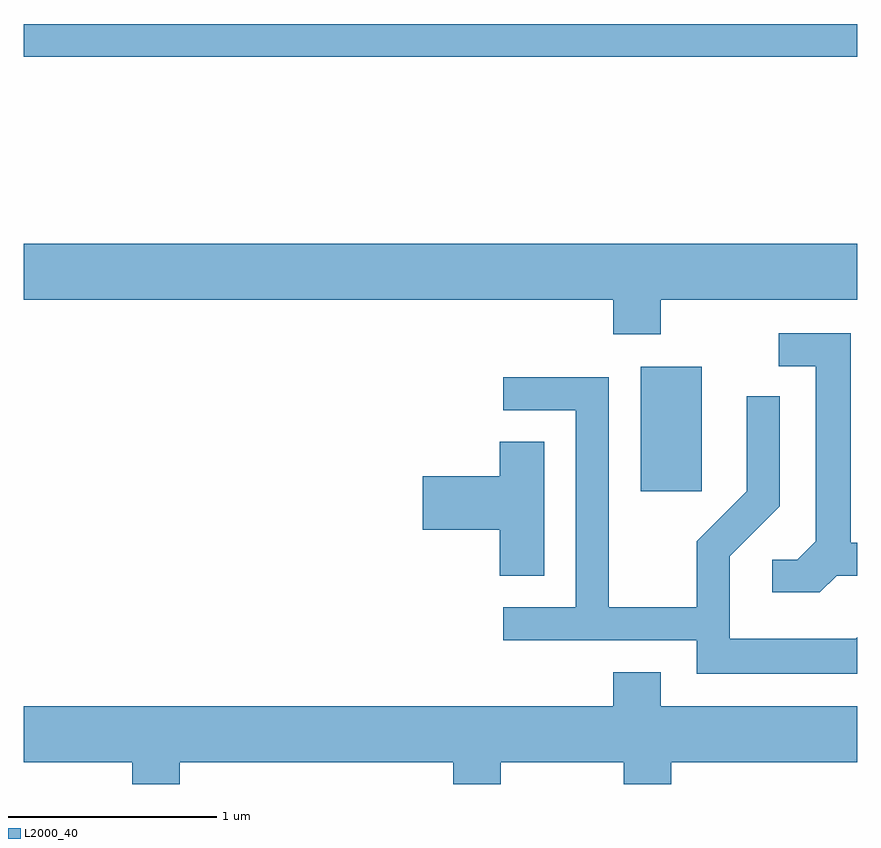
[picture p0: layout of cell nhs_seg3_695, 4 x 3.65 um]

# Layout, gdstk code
import gdstk
lib = gdstk.Library(unit=1e-6, precision=1e-09)
def R(c, l, rs):  # rectangles x0, y0, x1, y1
    for r in rs: c.add(gdstk.rectangle(r[:2], r[2:], *l))
def P(c, l, *ps):  # polygons
    for p in ps: c.add(gdstk.Polygon(p, *l))
L2000_40 = (2000, 40)

nhs_seg3_695 = lib.new_cell('nhs_seg3_695')
R(nhs_seg3_695, L2000_40, [(208.571,1147.296,208.864,1147.894), (205.611,1149.381,209.611,1149.539)])
P(nhs_seg3_695, L2000_40, [(208.669,1148.216),(209.611,1148.216),(209.611,1148.484),(205.611,1148.484),(205.611,1148.216),(208.441,1148.216),(208.441,1148.051),(208.669,1148.051)],
  [(209.512,1146.891),(209.611,1146.891),(209.611,1147.049),(209.579,1147.049),(209.579,1148.054),(209.233,1148.054),(209.233,1147.896),(209.411,1147.896),(209.411,1147.057),(209.324,1146.969),(209.203,1146.969),(209.203,1146.811),(209.432,1146.811)],
  [(209.611,1146.596),(209.604,1146.589),(208.999,1146.589),(208.999,1146.984),(209.239,1147.224),(209.239,1147.753),(209.081,1147.753),(209.081,1147.297),(208.841,1147.057),(208.841,1146.739),(208.419,1146.739),(208.419,1147.844),(207.913,1147.844),(207.913,1147.686),(208.261,1147.686),(208.261,1146.739),(207.913,1146.739),(207.913,1146.581),(208.841,1146.581),(208.841,1146.421),(209.611,1146.421)],
  [(208.109,1147.534),(207.896,1147.534),(207.896,1147.369),(207.526,1147.369),(207.526,1147.111),(207.896,1147.111),(207.896,1146.891),(208.109,1146.891)],
  [(206.359,1145.996),(207.671,1145.996),(207.671,1145.892),(207.899,1145.892),(207.899,1145.996),(208.491,1145.996),(208.491,1145.892),(208.719,1145.892),(208.719,1145.996),(209.611,1145.996),(209.611,1146.264),(208.669,1146.264),(208.669,1146.429),(208.441,1146.429),(208.441,1146.264),(205.611,1146.264),(205.611,1145.996),(206.131,1145.996),(206.131,1145.892),(206.359,1145.892)])

lib.write_gds('nhs_seg3_695.gds')
